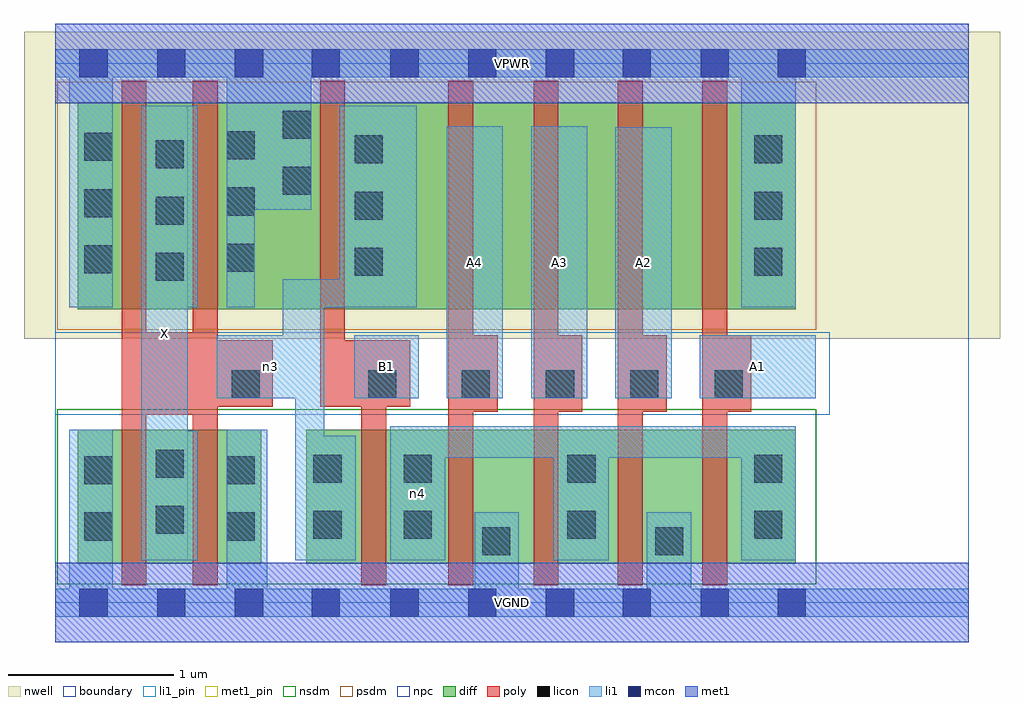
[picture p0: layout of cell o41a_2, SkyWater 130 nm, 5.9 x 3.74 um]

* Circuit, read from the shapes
.subckt o41a_2 A1 A2 A3 A4 B1 VGND VPWR X n3 n4
XM1 X n3 VGND VSUBS sky130_fd_pr__nfet_01v8 w=0.81 l=0.15 m=2
XM2 n4 B1 n3 VSUBS sky130_fd_pr__nfet_01v8 w=0.81 l=0.15
XM3 VGND A4 n4 VSUBS sky130_fd_pr__nfet_01v8 w=0.81 l=0.15
XM4 n4 A3 VGND VSUBS sky130_fd_pr__nfet_01v8 w=0.81 l=0.15
XM5 VGND A2 n4 VSUBS sky130_fd_pr__nfet_01v8 w=0.81 l=0.15
XM6 n4 A1 VGND VSUBS sky130_fd_pr__nfet_01v8 w=0.81 l=0.15
XM7 X n3 VPWR n1 sky130_fd_pr__pfet_01v8 w=1.25 l=0.15 m=2
XM8 n3 B1 VPWR n1 sky130_fd_pr__pfet_01v8 w=1.25 l=0.15
XM9 n2 A4 n3 n1 sky130_fd_pr__pfet_01v8 w=1.25 l=0.15
XM10 n5 A3 n2 n1 sky130_fd_pr__pfet_01v8 w=1.25 l=0.15
XM11 n6 A2 n5 n1 sky130_fd_pr__pfet_01v8 w=1.25 l=0.15
XM12 VPWR A1 n6 n1 sky130_fd_pr__pfet_01v8 w=1.25 l=0.15
.ends

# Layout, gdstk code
import gdstk
lib = gdstk.Library(unit=1e-6, precision=1e-09)
def R(c, l, rs):  # rectangles x0, y0, x1, y1
    for r in rs: c.add(gdstk.rectangle(r[:2], r[2:], *l))
def A(c, l, x, y, w, h, nx, ny, dx, dy):  # array of equal rectangles
    R(c, l, [(x+i*dx, y+j*dy, x+i*dx+w, y+j*dy+h) for i in range(nx) for j in range(ny)])
nwell = (64, 20)
diff = (65, 20)
poly = (66, 20)
licon = (66, 44)
li1_pin = (67, 16)
li1 = (67, 20)
mcon = (67, 44)
met1_pin = (68, 16)
met1 = (68, 20)
nsdm = (93, 44)
psdm = (94, 20)
npc = (95, 20)
boundary = (235, 4)

o41a_2 = lib.new_cell('o41a_2')
R(o41a_2, nwell, [(-0.19,1.595,5.71,3.45), (0,1.595,5.52,3.45)])
R(o41a_2, diff, [(0.135,0.235,1.245,1.045), (1.515,0.235,4.475,1.045), (0.135,1.775,4.475,3.025)])
A(o41a_2, poly, 2.89, 0.105, 0.15, 3.05, 3, 1, 0.51, 0)
A(o41a_2, poly, 2.89, 1.155, 0.295, 0.46, 3, 1, 0.51, 0)
R(o41a_2, poly, [(0.4,0.105,0.55,3.155), (0.83,0.105,0.98,3.155), (1.85,0.105,2,1.585), (2.375,0.105,2.525,3.155), (0.4,1.135,0.98,1.635), (2.375,1.155,2.675,1.615), (0.4,1.185,1.315,1.585), (1.6,1.185,1.75,3.155), (1.6,1.185,2.145,1.585)])
A(o41a_2, licon, 2.455, 1.235, 0.17, 0.17, 4, 1, 0.51, 0)
A(o41a_2, licon, 0.605, 1.945, 0.17, 0.17, 1, 3, 0, 0.34)
A(o41a_2, licon, 1.81, 1.975, 0.17, 0.17, 1, 3, 0, 0.34)
A(o41a_2, licon, 4.225, 1.975, 0.17, 0.17, 1, 3, 0, 0.34)
A(o41a_2, licon, 0.175, 1.99, 0.17, 0.17, 1, 3, 0, 0.34)
A(o41a_2, licon, 1.035, 2, 0.17, 0.17, 1, 3, 0, 0.34)
R(o41a_2, licon, [(2.58,0.285,2.75,0.455), (3.625,0.285,3.795,0.455), (0.175,0.375,0.345,0.545), (1.035,0.375,1.205,0.545), (1.56,0.385,1.73,0.555), (2.105,0.385,2.275,0.555), (3.095,0.385,3.265,0.555), (4.225,0.385,4.395,0.555), (0.605,0.415,0.775,0.585), (0.175,0.715,0.345,0.885), (1.035,0.715,1.205,0.885), (1.56,0.725,1.73,0.895), (2.105,0.725,2.275,0.895), (3.095,0.725,3.265,0.895), (4.225,0.725,4.395,0.895), (0.605,0.755,0.775,0.925), (1.065,1.235,1.235,1.405), (1.89,1.235,2.06,1.405), (1.375,2.465,1.545,2.635), (1.375,2.805,1.545,2.975)])
R(o41a_2, li1_pin, [(0.52,0.255,0.8,3.005), (1.805,1.235,2.195,1.615), (2.365,1.235,2.705,2.88), (2.875,1.235,3.215,2.88), (3.385,1.235,3.725,2.875), (3.895,1.235,4.595,1.615)])
R(o41a_2, li1, [(0,-0.085,5.52,0.085), (0.085,-0.085,0.345,1.045), (1.035,-0.085,1.28,1.045), (2.535,-0.085,2.8,0.545), (3.575,-0.085,3.845,0.545), (0.52,0.255,0.8,3.005), (0.52,0.255,0.86,1.04), (1.45,0.255,1.625,1.955), (1.45,0.255,1.815,1.01), (2.025,0.255,2.355,1.065), (3.01,0.255,3.345,1.065), (4.145,0.255,4.475,1.065), (2.025,0.875,4.475,1.065), (0.975,1.235,1.625,1.615), (1.375,1.235,1.625,1.955), (1.805,1.235,2.195,1.615), (2.365,1.235,2.705,2.88), (2.875,1.235,3.215,2.88), (3.385,1.235,3.725,2.875), (3.895,1.235,4.595,1.615), (0.085,1.785,0.345,3.345), (0.52,1.785,0.86,3.005), (1.035,1.785,1.205,3.345), (1.375,1.785,2.185,1.955), (1.72,1.785,2.185,3.005), (4.145,1.785,4.475,3.345), (1.035,2.375,1.545,3.345), (0,3.175,5.52,3.345)])
A(o41a_2, mcon, 0.145, -0.085, 0.17, 0.17, 3, 2, 0.47, 3.26)
A(o41a_2, mcon, 2.025, -0.085, 0.17, 0.17, 3, 2, 0.47, 3.26)
R(o41a_2, mcon, [(1.55,-0.085,1.72,0.085), (3.43,-0.085,3.6,0.085), (3.9,-0.085,4.07,0.085), (4.365,-0.085,4.535,0.085), (1.55,3.175,1.72,3.345), (3.43,3.175,3.6,3.345), (3.9,3.175,4.07,3.345), (4.365,3.175,4.535,3.345)])
R(o41a_2, met1_pin, [(0,-0.24,5.52,0.24), (0,3.02,5.52,3.5)])
R(o41a_2, met1, [(0,-0.24,5.52,0.24), (0,3.02,5.52,3.5)])
R(o41a_2, nsdm, [(0.01,0.11,4.6,1.17)])
R(o41a_2, psdm, [(0.01,1.65,4.6,3.15)])
R(o41a_2, npc, [(0,1.135,4.68,1.635)])
R(o41a_2, boundary, [(0,0,5.52,3.26)])
o41a_2.add(gdstk.Label('A1', (4.245,1.425), layer=67, texttype=5))
o41a_2.add(gdstk.Label('A2', (3.555,2.055), layer=67, texttype=5))
o41a_2.add(gdstk.Label('A3', (3.045,2.057), layer=67, texttype=5))
o41a_2.add(gdstk.Label('A4', (2.535,2.057), layer=67, texttype=5))
o41a_2.add(gdstk.Label('B1', (2,1.425), layer=67, texttype=5))
o41a_2.add(gdstk.Label('X', (0.66,1.63), layer=67, texttype=5))
o41a_2.add(gdstk.Label('n4', (2.19,0.66), layer=67, texttype=5))
o41a_2.add(gdstk.Label('n3', (1.3,1.425), layer=67, texttype=5))
o41a_2.add(gdstk.Label('VPWR', (2.76,3.26), layer=68, texttype=5))
o41a_2.add(gdstk.Label('VGND', (2.76,0), layer=68, texttype=5))
o41a_2.add(gdstk.Label('A1', (4.245,1.425), layer=67, texttype=16))
o41a_2.add(gdstk.Label('A2', (3.555,2.055), layer=67, texttype=16))
o41a_2.add(gdstk.Label('A3', (3.045,2.057), layer=67, texttype=16))
o41a_2.add(gdstk.Label('A4', (2.535,2.057), layer=67, texttype=16))
o41a_2.add(gdstk.Label('B1', (2,1.425), layer=67, texttype=16))
o41a_2.add(gdstk.Label('X', (0.66,1.63), layer=67, texttype=16))
o41a_2.add(gdstk.Label('VPWR', (2.76,3.26), layer=68, texttype=16))
o41a_2.add(gdstk.Label('VGND', (2.76,0), layer=68, texttype=16))

lib.write_gds('o41a_2.gds')
